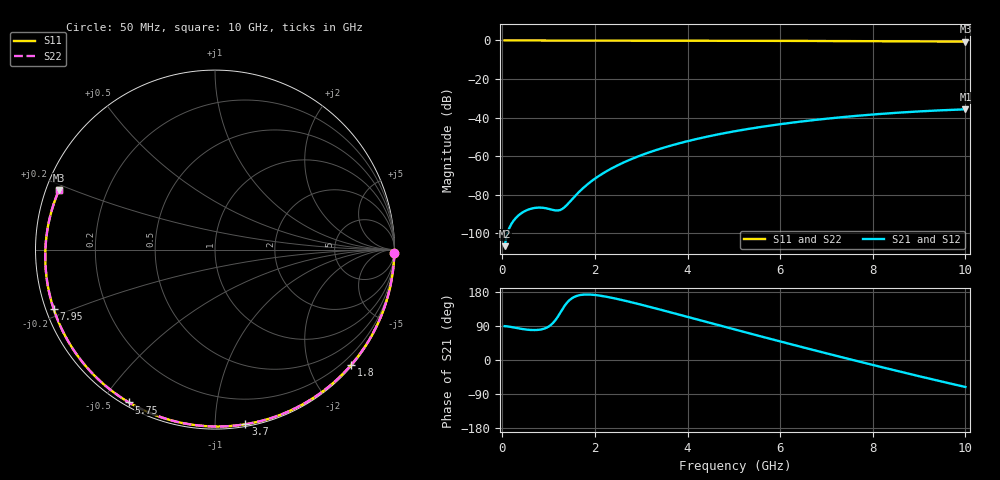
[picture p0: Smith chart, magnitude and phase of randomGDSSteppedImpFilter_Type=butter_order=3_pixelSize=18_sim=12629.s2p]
! freq	dB(S11)	phase(S11)	dB(S12)	phase(S12)
!  dB(S21)	phase(S21)	dB(S22)	phase(S22)
!S-par simulation data
#  GHz  S  DB  R 50
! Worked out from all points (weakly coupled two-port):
!   200 points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, 50 MHz to 10 GHz, reference 50 ohm
!   highest |S21| = -35.71 dB at 10 GHz (marker M1); lowest = -106.6 dB at 50 MHz (marker M2)
!   lowest |S11| = -0.6 dB at 10 GHz (marker M3), VSWR 27.87, Z = 1.85 + j9.16 ohm
!   |S11| at or under -10 dB: nowhere
!   |S22| runs from -0.6 to 0.0 dB; largest |S21 - S12| = 0
!   S11 on the Smith chart (normalised r, x): 50 MHz: open; 1.8 GHz: 0.02, -2.72; 3.7 GHz: 0.01, -1.19; 5.75 GHz: 0.02, -0.58; 7.95 GHz: 0.02, -0.18; 10 GHz: 0.04, +0.18
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0.05  -0.00 -1.1  -106.64 89.4  -106.64 89.4  -0.00 -1.1
0.45  -0.02 -10.2  -88.97 81.4  -88.97 81.4  -0.02 -10.2
0.8  -0.02 -18.2  -86.65 79.9  -86.65 79.9  -0.02 -18.2
1.2  -0.03 -27.2  -88.15 114.5  -88.15 114.5  -0.03 -27.2
1.6  -0.05 -36.0  -79.91 168.8  -79.91 168.8  -0.05 -36.0
1.75  -0.05 -39.3  -76.42 172.5  -76.42 172.5  -0.05 -39.3
1.8  -0.05 -40.4  -75.37 172.8  -75.37 172.8  -0.05 -40.4
2.1  -0.06 -46.9  -70.02 170.0  -70.02 170.0  -0.06 -46.9
2.45  -0.07 -54.4  -65.22 162.0  -65.22 162.0  -0.07 -54.4
2.9  -0.08 -63.8  -60.42 149.0  -60.42 149.0  -0.08 -63.8
3.4  -0.10 -74.1  -56.22 133.3  -56.22 133.3  -0.10 -74.1
3.7  -0.11 -80.1  -54.10 123.6  -54.10 123.6  -0.11 -80.1
4.35  -0.13 -92.9  -50.25 102.4  -50.25 102.4  -0.13 -92.9
5.05  -0.16 -106.3  -46.94 79.6  -46.94 79.6  -0.16 -106.3
5.75  -0.20 -119.3  -44.25 57.0  -44.25 57.0  -0.20 -119.3
6.7  -0.26 -136.8  -41.34 26.9  -41.34 26.9  -0.26 -136.8
7.35  -0.32 -148.7  -39.74 6.8  -39.74 6.8  -0.32 -148.7
7.95  -0.37 -159.8  -38.49 -11.5  -38.49 -11.5  -0.37 -159.8
8.35  -0.42 -167.4  -37.77 -23.6  -37.77 -23.6  -0.42 -167.4
9.2  -0.52 175.9  -36.53 -48.6  -36.53 -48.6  -0.52 176.0
9.6  -0.57 167.7  -36.08 -60.0  -36.08 -60.0  -0.57 167.7
10  -0.62 159.2  -35.71 -71.2  -35.71 -71.2  -0.62 159.2
